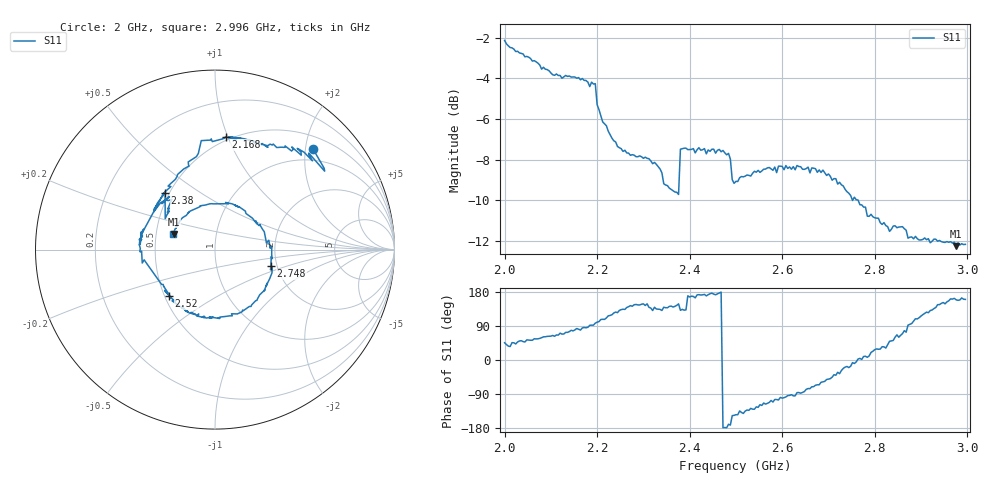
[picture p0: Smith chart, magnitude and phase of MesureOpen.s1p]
# MHz S MA R 50.0
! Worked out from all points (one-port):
!   250 points, 2 GHz to 2.996 GHz, reference 50 ohm
!   lowest |S11| = -12.3 dB at 2.976 GHz (marker M1), VSWR 1.64, Z = 31.1 + j5.8 ohm
!   |S11| at or under -10 dB: 2.751777 GHz to 2.752337 GHz (560.7 kHz wide, 0.0204 % of centre); 2.764 GHz to end of sweep
!   S11 on the Smith chart (normalised r, x): 2 GHz: 0.75, +2.16; 2.168 GHz: 0.47, +0.98; 2.38 GHz: 0.47, +0.37; 2.52 GHz: 0.53, -0.31; 2.748 GHz: 1.85, -0.38; 2.996 GHz: 0.62, +0.11
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2000  0.7818 45.5
2012  0.7512 35.6
2016  0.7496 45.8
2032  0.7287 50.2
2128  0.6361 68.7
2168  0.6302 84.6
2196  0.612 97.2
2252  0.4234 133.0
2308  0.4009 148.2
2340  0.3693 130.7
2376  0.3267 148.1
2380  0.4221 131.2
2392  0.4247 132.3
2396  0.4211 169.4
2456  0.4128 172.1
2480  0.409 -178.8
2488  0.399 -171.8
2492  0.3553 -146.8
2500  0.3519 -144.4
2520  0.3624 -134.8
2624  0.3824 -94.6
2680  0.3754 -65.3
2748  0.3247 -16.5
2824  0.2739 31.6
2868  0.2668 73.4
2872  0.255 92.0
2976  0.2437 158.9
2996  0.2462 159.9
